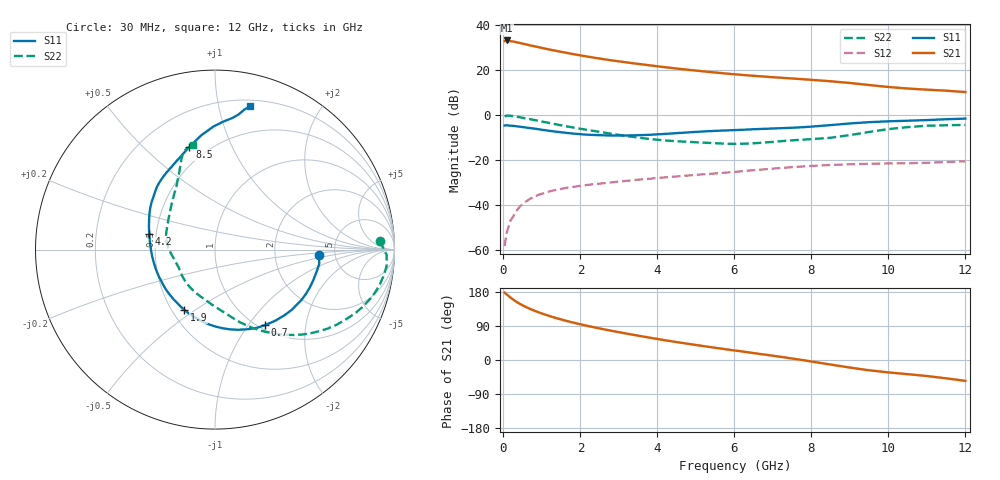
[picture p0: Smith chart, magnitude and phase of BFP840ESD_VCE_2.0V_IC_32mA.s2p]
! Infineon Technologies  Discrete & RF Semiconductors
! BFP840ESD
! VCE =  2.0 V,  IC =  32 mA
! Common Emitter S-Parameters:  May 2012
# GHz  S  MA  R  50
!  f  S11  S21  S12  S22
! GHz  MAG  ANG  MAG  ANG  MAG  ANG  MAG  ANG
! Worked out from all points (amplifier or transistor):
!   93 points, 30 MHz to 12 GHz, reference 50 ohm
!   highest |S21| = 33.1 dB at 80 MHz (marker M1)
!   |S21| within 3 dB of that: start of sweep to 917.4 MHz
!   unconditionally stable (mu >= 1): 4.131 GHz to 7.677 GHz
!   at 1.1 GHz: K = 0.51, MSG = 32.0 dB, |S12| = -34.6 dB
!   at 4.2 GHz: K = 1.01, MAG = 24.0 dB, |S12| = -27.8 dB
!   at 12 GHz: K = 0.72, MSG = 15.4 dB, |S12| = -20.7 dB
!   S11 on the Smith chart (normalised r, x): 30 MHz: 3.73, -0.34; 700 MHz: 1.07, -1.21; 1.9 GHz: 0.58, -0.45; 4.2 GHz: 0.46, +0.09; 8.5 GHz: 0.40, +0.70; 12 GHz: 0.25, +1.24
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0.03  0.5799 -3.0  43.5 177.7  0.0012 97.7  0.919 3.0
0.08  0.5863 -7.8  44.97 173.4  0.0023 62.3  0.9571 -1.8
0.23  0.5685 -21.9  42.81 161.2  0.0051 75.8  0.9391 -11.8
0.33  0.5572 -30.4  41.18 154.0  0.0071 74.8  0.9124 -16.9
0.43  0.5443 -37.8  39.54 147.9  0.0092 72.5  0.8806 -21.4
0.5  0.533 -43.2  38.13 144.1  0.0104 69.2  0.8578 -24.4
0.7  0.5046 -56.5  34.78 134.5  0.0137 65.4  0.7958 -31.8
0.9  0.4789 -68.0  32.08 126.4  0.0165 60.5  0.7359 -38.2
1.1  0.4519 -79.5  29.4 119.2  0.0187 57.5  0.6805 -44.0
1.3  0.4286 -89.8  27.08 112.7  0.0208 54.4  0.6295 -49.0
1.6  0.3997 -103.3  24.25 104.2  0.0235 50.8  0.5617 -55.8
1.9  0.3767 -117.0  21.69 96.6  0.0256 48.2  0.5058 -61.8
2.1  0.3645 -125.1  20.25 91.9  0.0271 46.9  0.4734 -65.5
2.5  0.3523 -140.7  17.8 83.2  0.0294 44.9  0.4169 -72.3
3  0.3462 -157.9  15.41 73.4  0.0327 43.3  0.3568 -81.0
4.1  0.3716 169.2  11.69 53.8  0.0401 39.4  0.274 -106.8
4.2  0.3761 166.8  11.43 52.1  0.0406 39.0  0.2692 -109.4
5.1  0.4216 149.6  9.421 38.1  0.0469 35.6  0.2431 -132.2
6.1  0.4602 136.9  7.833 23.9  0.0547 32.2  0.2266 -156.1
8.5  0.5901 104.0  5.56 -12.0  0.0766 14.2  0.3087 147.4
10.5  0.7386 82.6  3.835 -37.4  0.0838 -1.9  0.532 110.7
12  0.8231 76.2  3.206 -55.1  0.0925 -9.7  0.5951 102.1
